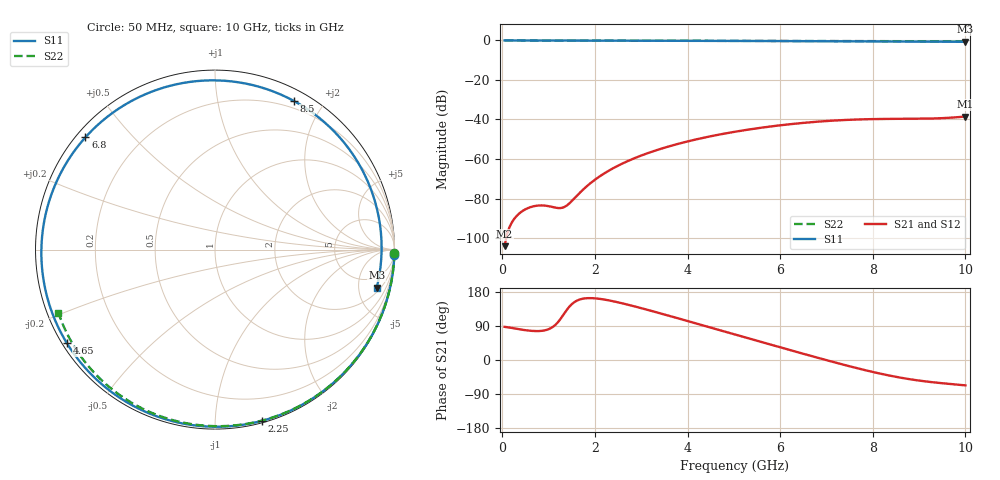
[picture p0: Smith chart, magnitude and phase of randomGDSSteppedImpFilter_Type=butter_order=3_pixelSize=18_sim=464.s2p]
! freq	dB(S11)	phase(S11)	dB(S12)	phase(S12)
!  dB(S21)	phase(S21)	dB(S22)	phase(S22)
!S-par simulation data
#  GHz  S  DB  R 50
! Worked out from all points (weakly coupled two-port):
!   200 points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, 50 MHz to 10 GHz, reference 50 ohm
!   highest |S21| = -38.50 dB at 10 GHz (marker M1); lowest = -104.1 dB at 50 MHz (marker M2)
!   lowest |S11| = -0.7 dB at 10 GHz (marker M3), VSWR 25.92, Z = 131 - j387 ohm
!   |S11| at or under -10 dB: nowhere
!   |S22| runs from -0.5 to 0.0 dB; largest |S21 - S12| = 0
!   S11 on the Smith chart (normalised r, x): 50 MHz: 1, -66; 2.25 GHz: 0.01, -1.31; 4.65 GHz: 0.01, -0.29; 6.8 GHz: 0.03, +0.37; 8.5 GHz: 0.12, +1.66; 10 GHz: 2.62, -7.75
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0.05  -0.00 -1.7  -104.12 87.5  -104.12 87.5  -0.00 -0.9
0.75  -0.03 -25.6  -83.63 76.3  -83.63 76.3  -0.02 -13.7
1.55  -0.07 -52.1  -80.09 152.2  -80.09 152.2  -0.04 -28.0
1.75  -0.07 -58.6  -75.38 162.0  -75.38 162.0  -0.04 -31.6
2.25  -0.09 -74.6  -66.60 158.5  -66.60 158.5  -0.05 -40.3
2.75  -0.11 -90.2  -60.63 144.8  -60.63 144.8  -0.06 -48.9
3.4  -0.14 -110.0  -55.02 123.5  -55.02 123.5  -0.08 -59.9
4  -0.17 -128.1  -51.11 102.9  -51.11 102.9  -0.10 -69.7
4.65  -0.21 -147.8  -47.79 80.4  -47.79 80.4  -0.12 -80.0
5.05  -0.24 -160.2  -46.10 66.4  -46.10 66.4  -0.13 -86.2
5.9  -0.31 172.0  -43.23 37.0  -43.23 37.0  -0.17 -99.1
6.7  -0.39 143.0  -41.32 9.6  -41.32 9.6  -0.22 -110.9
6.8  -0.40 139.1  -41.13 6.3  -41.13 6.3  -0.22 -112.3
7.25  -0.44 120.6  -40.43 -8.6  -40.43 -8.6  -0.25 -118.8
7.65  -0.48 103.0  -40.02 -21.3  -40.02 -21.3  -0.28 -124.5
8  -0.52 86.7  -39.80 -31.6  -39.80 -31.6  -0.31 -129.5
8.35  -0.55 69.6  -39.70 -40.8  -39.70 -40.8  -0.35 -134.4
8.5  -0.56 62.0  -39.69 -44.4  -39.69 -44.4  -0.36 -136.5
8.9  -0.59 41.7  -39.65 -52.6  -39.65 -52.6  -0.40 -142.2
9.3  -0.62 21.2  -39.50 -58.8  -39.50 -58.8  -0.44 -147.9
9.65  -0.64 3.7  -39.14 -63.0  -39.14 -63.0  -0.49 -152.9
10  -0.67 -13.2  -38.50 -67.0  -38.50 -67.0  -0.53 -158.0
